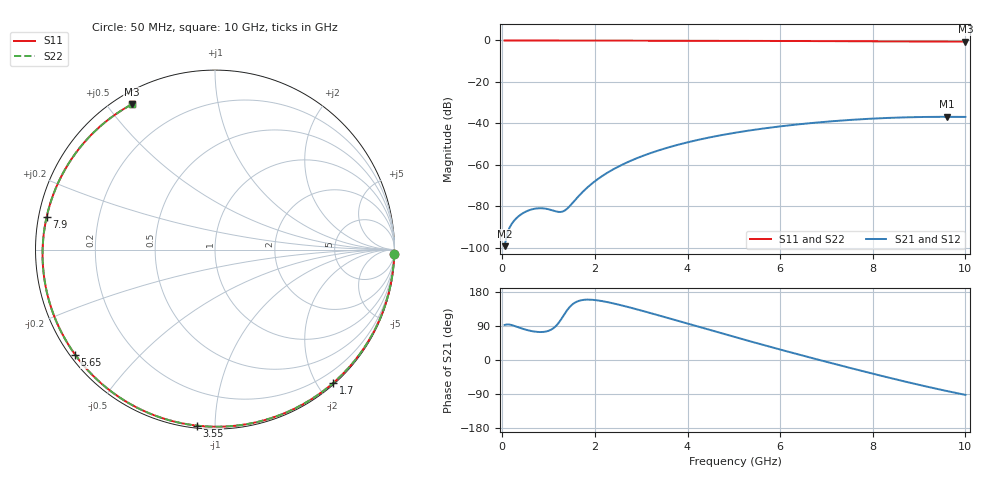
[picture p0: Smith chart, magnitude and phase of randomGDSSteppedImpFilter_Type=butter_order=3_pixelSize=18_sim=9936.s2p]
! freq	dB(S11)	phase(S11)	dB(S12)	phase(S12)
!  dB(S21)	phase(S21)	dB(S22)	phase(S22)
!S-par simulation data
#  GHz  S  DB  R 50
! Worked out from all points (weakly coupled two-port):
!   200 points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, 50 MHz to 10 GHz, reference 50 ohm
!   highest |S21| = -36.82 dB at 9.6 GHz (marker M1); lowest = -99.2 dB at 50 MHz (marker M2)
!   lowest |S11| = -0.6 dB at 10 GHz (marker M3), VSWR 28.66, Z = 2.33 + j29 ohm
!   |S11| at or under -10 dB: nowhere
!   |S22| runs from -0.6 to 0.0 dB; largest |S21 - S12| = 0
!   S11 on the Smith chart (normalised r, x): 50 MHz: 1, -81; 1.7 GHz: 0.02, -2.22; 3.55 GHz: 0.01, -0.90; 5.65 GHz: 0.01, -0.33; 7.9 GHz: 0.02, +0.10; 10 GHz: 0.05, +0.58
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0.05  -0.00 -1.4  -99.20 92.5  -99.20 92.5  -0.00 -1.4
0.7  -0.03 -20.3  -81.14 74.9  -81.14 74.9  -0.03 -20.3
1.05  -0.04 -30.3  -81.70 79.8  -81.70 79.8  -0.04 -30.3
1.45  -0.05 -41.6  -80.04 139.1  -80.04 139.1  -0.05 -41.6
1.7  -0.06 -48.5  -73.86 157.6  -73.86 157.6  -0.06 -48.5
1.75  -0.06 -49.8  -72.73 158.6  -72.73 158.6  -0.06 -49.8
2.05  -0.07 -57.9  -67.05 157.5  -67.05 157.5  -0.07 -57.9
2.45  -0.09 -68.5  -61.49 147.9  -61.49 147.9  -0.09 -68.5
2.9  -0.10 -80.0  -56.83 133.9  -56.83 133.9  -0.10 -80.0
3.4  -0.12 -92.3  -52.84 117.0  -52.84 117.0  -0.12 -92.3
3.55  -0.12 -95.9  -51.82 111.8  -51.82 111.8  -0.12 -95.9
4.25  -0.15 -112.2  -47.83 87.3  -47.83 87.3  -0.15 -112.2
5.05  -0.19 -130.1  -44.42 59.6  -44.42 59.6  -0.19 -130.0
5.65  -0.22 -143.0  -42.42 39.3  -42.42 39.3  -0.22 -143.0
6.2  -0.26 -154.7  -40.92 21.0  -40.92 21.0  -0.26 -154.7
6.7  -0.29 -165.3  -39.78 4.8  -39.78 4.8  -0.29 -165.3
7.3  -0.34 -178.1  -38.66 -14.3  -38.66 -14.3  -0.34 -178.0
7.9  -0.40 168.9  -37.80 -33.0  -37.80 -33.0  -0.40 169.0
8.35  -0.44 159.0  -37.34 -46.7  -37.34 -46.7  -0.44 159.0
8.95  -0.50 145.2  -36.96 -64.2  -36.96 -64.2  -0.50 145.3
9.6  -0.57 129.7  -36.82 -81.9  -36.82 -81.9  -0.57 129.8
10  -0.61 119.7  -36.87 -92.0  -36.87 -92.0  -0.61 119.9
